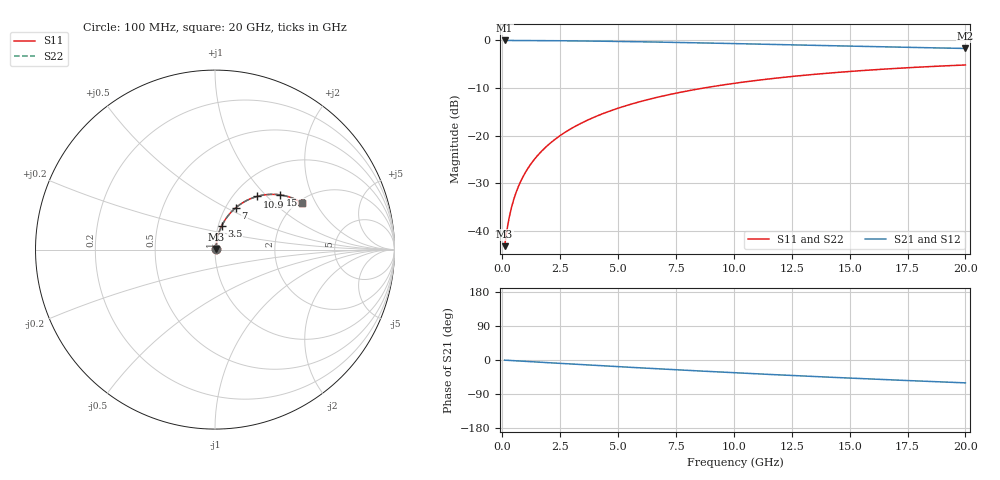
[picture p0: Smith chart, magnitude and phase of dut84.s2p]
! Touchstone file exported from HFSS 2026.1.0
!  File:  C:/ffzhzh/LocalFiles/Ansys_Project_Files/temp_train_BSMRDL_84_1782883120_13352.aedt
!  Generated:  01:20:12 PM Jul  1, 2026
!  Design:  BSMRDL
!  Project:  temp_train_BSMRDL_84_1782883120_13352
! Variables:
!  h_bsmrdl = 3.75um
!  h_ox = 20um
!  h_rdl = 5um
!  h_sub = 80um
!  h_tmrdl = 5um
!  h_tsv = 80um
!  h_via = 3um
!  l_bsmrdl = 927.05um
!  l_sub = 1327.05um
!  l_tmrdl = 200um
!  m_sub = 200um
!  pitch = 46.65um
!  r_tsv = 6um
!  s_tmrdl = 10um
!  w_bsmrdl = 16.33um
!  w_sub = 500um
!  w_tmrdl = 12um
!  x_tsv_center1 = 206um
!  x_tsv_center2 = 1149.38um
!  x_tsv_center3 = 1361.38um
!  x_tsv_center4 = 2304.76um
!  x_tsv_center5 = 2516.76um
!  x_tsv_center6 = 3460.14um
# GHz S MA R 50.000000
! Terminal data exported
! Port[1] = BSM_RDL1_1_T1
! Port[2] = BSM_RDL1_1_T2
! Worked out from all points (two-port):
!   200 points, 100 MHz to 20 GHz, reference 50 ohm
!   highest |S21| = -0.05 dB at 100 MHz (marker M1); lowest = -1.7 dB at 20 GHz (marker M2)
!   |S21| within 3 dB of the highest: start of sweep to end of sweep
!   lowest |S11| = -43.2 dB at 100 MHz (marker M3), VSWR 1.01, Z = 50.5 + j0.43 ohm
!   |S11| at or under -10 dB: start of sweep to 8.732 GHz
!   |S22| runs from -43.2 to -5.2 dB; largest |S21 - S12| = 3.1e-15
!   S11 on the Smith chart (normalised r, x): 100 MHz: 1.01, +0.01; 3.5 GHz: 1.04, +0.28; 7 GHz: 1.12, +0.56; 10.9 GHz: 1.27, +0.88; 15.2 GHz: 1.56, +1.22; 20 GHz: 2.10, +1.56
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0.1  0.006915 38.0  0.9946 -0.4  0.9946 -0.4  0.006915 38.0
! Gamma 0 0 0 0
! Port Impedance 50 0 50 0
0.2  0.01018 56.0  0.9944 -0.7  0.9944 -0.7  0.01018 56.0
0.3  0.01389 64.4  0.9942 -1.1  0.9942 -1.1  0.01389 64.4
0.4  0.01772 69.0  0.9939 -1.5  0.9939 -1.5  0.01772 69.0
0.5  0.02159 71.8  0.9937 -1.8  0.9937 -1.8  0.02159 71.8
0.6  0.02547 73.7  0.9935 -2.2  0.9935 -2.2  0.02547 73.7
0.8  0.03328 76.1  0.9931 -2.9  0.9931 -2.9  0.03328 76.1
1.1  0.04506 77.7  0.9924 -3.9  0.9924 -3.9  0.04506 77.7
1.5  0.06082 78.2  0.9914 -5.4  0.9914 -5.4  0.06082 78.2
2.1  0.08439 77.6  0.9893 -7.5  0.9893 -7.5  0.08439 77.6
2.7  0.1077 76.4  0.9866 -9.6  0.9866 -9.6  0.1077 76.4
3.5  0.1383 74.2  0.9822 -12.4  0.9822 -12.4  0.1383 74.2
5  0.1936 69.7  0.9716 -17.5  0.9716 -17.5  0.1936 69.7
6.8  0.2556 64.0  0.9557 -23.5  0.9557 -23.5  0.2556 64.0
7  0.2621 63.4  0.9538 -24.1  0.9538 -24.1  0.2621 63.4
8.5  0.3093 58.8  0.9386 -28.9  0.9386 -28.9  0.3093 58.8
10.1  0.3554 54.1  0.9214 -33.8  0.9214 -33.8  0.3554 54.1
10.9  0.3768 51.7  0.9126 -36.2  0.9126 -36.2  0.3768 51.7
13.4  0.437 44.8  0.885 -43.4  0.885 -43.4  0.437 44.8
15.2  0.4741 40.0  0.8656 -48.2  0.8656 -48.2  0.4741 40.0
16.7  0.5013 36.2  0.8503 -52.2  0.8503 -52.2  0.5013 36.2
20  0.5502 28.2  0.8201 -60.4  0.8201 -60.4  0.5502 28.2
